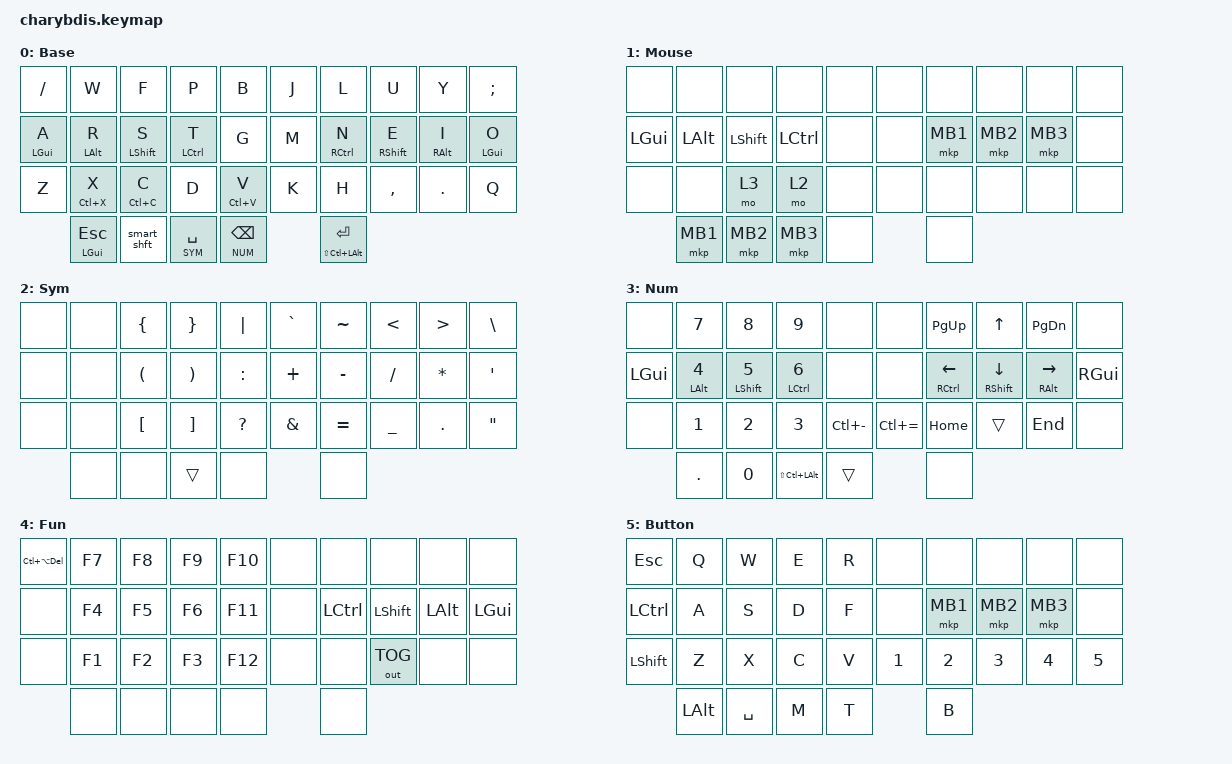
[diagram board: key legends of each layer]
#include <behaviors.dtsi>
#include <dt-bindings/zmk/keys.h>
#include <dt-bindings/zmk/bt.h>
#include <dt-bindings/zmk/ext_power.h>
#include <dt-bindings/zmk/mouse.h>
#include <dt-bindings/zmk/outputs.h>

#include <dt-bindings/zmk/input_transform.h>

#define DEF 0
#define MOUSE 1
#define SYM 2
#define NUM 3
#define FN 4
#define GENSHIN 5 

#define KEYS_L 0 1 2 3 4 10 11 12 13 14 20 21 22 23 24  
#define KEYS_R 5 6 7 8 9 15 16 17 18 19 25 26 27 28 29
#define THUMBS 30 31 32 33 34 35  

&sk {
  release-after-ms = <600>;
  quick-release;
};

&sl {
  ignore-modifiers;
};

&mt {
  flavor = "tap-preferred";
};

&lt {
  flavor = "balanced";
  tapping-term-ms = <200>;
  quick-tap-ms = <175>;
};

&caps_word {
  /delete-property/ ignore-modifiers;
};



/ {
  trackball_listener {
    compatible = "zmk,input-listener";
    device = <&vtrackball>;

    snipe {
      layers = <NUM>;
      input-processors = <&xy_scaler 1 3>;
    };

    scroll {
      layers = <SYM>;
      input-processors = <&xy_invert (INPUT_TRANSFORM_Y_INVERT)>, <&xy_scaler 1 3>, <&x_scaler 0 1>, <&mouse_to_wheel_mapper>;
    };
  };

  /* input config for mouse move mode on default layer (DEF & MOUSE) */
  tb0_mmv_ibl {
    /* new forked compatible name */
    compatible = "zmk,input-behavior-listener";
    
    /* the input point device alias */
    device = <&vtrackball>;

    /* only enable in default layer (DEF) & mouse key layer (MOUSE) */
    layers = <DEF MOUSE>;

    /* event code value to override raw input event */
    /* designed for switching to mouse scroll, xy-swap, precise-mode+, etc */
    /* NOTE: only apply input-code overriding for INPUT_EV_REL */
    evt-type = <INPUT_EV_REL>;
    x-input-code = <INPUT_REL_X>;
    y-input-code = <INPUT_REL_Y>;
    scale-multiplier = <999>;
    scale-divisor = <1000>;

    /* bind a behavior to auto activate MOUSE layer for &mkp */
    bindings = <&ib_tog_layer MOUSE>;
  };


  /* adjust cooldown waiting period for mouse key layer (MSK) after activated */
  ib_tog_layer: ib_tog_layer {
          compatible = "zmk,input-behavior-tog-layer";
          #binding-cells = <1>;
          time-to-live-ms = <1000>;
          require-prior-idle-ms = <500>;
  };

  xy_scaler: xy_scaler {
    compatible = "zmk,input-processor-scaler";
    #input-processor-cells = <2>;
    type = <INPUT_EV_REL>;
    codes = <INPUT_REL_X>, <INPUT_REL_Y>;
  };

  x_scaler: x_scaler {
    compatible = "zmk,input-processor-scaler";
    #input-processor-cells = <2>;
    type = <INPUT_EV_REL>;
    codes = <INPUT_REL_X>;
  };

  y_scaler: y_scaler {
    compatible = "zmk,input-processor-scaler";
    #input-processor-cells = <2>;
    type = <INPUT_EV_REL>;
    codes = <INPUT_REL_Y>;
  };

  xy_invert: xy_invert {
    compatible = "zmk,input-processor-transform";
    #input-processor-cells = <1>;
    type = <INPUT_EV_REL>;
    x-codes = <INPUT_REL_X>, <INPUT_REL_WHEEL>;
    y-codes = <INPUT_REL_Y>, <INPUT_REL_HWHEEL>;
  };

  mouse_to_wheel_mapper: mouse_to_wheel_mapper {
    compatible = "zmk,input-processor-code-mapper";
    #input-processor-cells = <0>;
    type = <INPUT_EV_REL>;
    map = <INPUT_REL_X INPUT_REL_MISC>, <INPUT_REL_Y INPUT_REL_WHEEL>;
  };

  behaviors {
    hml: hml {
      compatible = "zmk,behavior-hold-tap";
      #binding-cells = <2>;
      flavor = "balanced";
      tapping-term-ms = <5000>;
      quick-tap-ms = <175>;
      require-prior-idle-ms = <250>;
      hold-trigger-key-positions = <KEYS_R THUMBS>;
      hold-trigger-on-release;
      bindings =
        <&kp>,
        <&kp>;
    };

    hmr: hmr {
      compatible = "zmk,behavior-hold-tap";
      #binding-cells = <2>;
      flavor = "balanced";
      tapping-term-ms = <5000>;
      quick-tap-ms = <175>;
      require-prior-idle-ms = <250>;
      hold-trigger-key-positions = <KEYS_L THUMBS>;
      hold-trigger-on-release;
      bindings =
        <&kp>,
        <&kp>;
    };

    smart_shft: smart_shft {
      compatible = "zmk,behavior-mod-morph";
      #binding-cells = <0>;
      bindings = <&sk LSHIFT>, <&caps_word>;
      mods = <(MOD_LSFT)>;
    };
  };

  combos {
    compatible = "zmk,combos";
    combo_normal {
      timeout-ms = <20>;
      key-positions = <7 8>;
      bindings = <&to DEF>;
    };

    combo_fn {
      timeout-ms = <20>;
      key-positions = <27 28>;
      bindings = <&sl FN>;
    };
    combo_genshin {
      timeout-ms = <20>;
      key-positions = <5 9>;
      bindings = <&to GENSHIN>;
    };
    combo_esc {
      timeout-ms = <20>;
      key-positions = <1 2>;
      bindings = <&kp ESCAPE>;
    };
    combo_tab {
      timeout-ms = <20>;
      key-positions = <2 3>;
      bindings = <&kp TAB>;
    };
    combo_cdel {
      timeout-ms = <20>;
      key-positions = <11 12>;
      bindings = <&kp LC(BACKSPACE)>;
    };
    combo_unlock {
      timeout-ms = <20>;
      key-positions = <0 4>;
      bindings = <&studio_unlock>;
    };
    combo_reset_left {
      timeout-ms = <20>;
      key-positions = <20 24>;
      bindings = <&sys_reset>;
    };
    combo_reset_right {
      timeout-ms = <20>;
      key-positions = <25 29>;
      bindings = <&sys_reset>;
    };
  };
  chosen {
    zmk,physical-layout = &charybdis_5col_layout;
  };

  keymap {
    compatible = "zmk,keymap";

    Base {
      bindings = <
        &kp FSLH       &kp W          &kp F           &kp P           &kp B             &kp J    &kp L           &kp U           &kp Y          &kp SEMI
        &hml LGUI A    &hml LALT R    &hml LSHFT S    &hml LCTRL T    &kp G             &kp M    &hmr RCTRL N    &hmr RSHFT E    &hmr RALT I    &hmr LGUI O
        &kp Z          &mt LC(X) X    &mt LC(C) C     &kp D           &mt LC(V) V       &kp K    &kp H           &kp COMMA       &kp DOT        &kp Q
                       &mt LGUI ESCAPE      &smart_shft     &lt SYM SPACE     &lt NUM BACKSPACE        &mt LS(LC(LEFT_ALT)) ENTER
      >;
    };

    Mouse {
      bindings = <
        &none      &none      &none       &none       &none       &none    &none       &none       &none       &none
        &kp LGUI   &kp LALT   &kp LSHFT   &kp LCTRL   &none       &none    &mkp MB1    &mkp MB2    &mkp MB3    &none 
        &none      &none      &mo 3       &mo 2       &none       &none    &none       &none       &none       &none 
        &mkp MB1    &mkp MB2    &mkp MB3    &none       &none
      >;
    };

    Sym {
      bindings = <
        &none    &none    &kp LEFT_BRACE          &kp RIGHT_BRACE          &kp PIPE         &kp GRAVE    &kp TILDE    &kp LESS_THAN    &kp GREATER_THAN    &kp BACKSLASH        
        &none    &none    &kp LEFT_PARENTHESIS    &kp RIGHT_PARENTHESIS    &kp COLON        &kp PLUS     &kp MINUS    &kp SLASH        &kp ASTRK           &kp SINGLE_QUOTE    
        &none    &none    &kp LEFT_BRACKET        &kp RIGHT_BRACKET        &kp QUESTION     &kp AMPS     &kp EQUAL    &kp UNDER        &kp PERIOD          &kp DOUBLE_QUOTES  
        &none                   &none                    &trans           &none        &none                                                                     
      >;
    };

    Num {
      bindings = <
        &none      &kp N7          &kp N8           &kp N9           &none            &none              &kp PG_UP          &kp UP             &kp PG_DN          &none          
        &kp LGUI   &hml LALT N4    &hml LSHFT N5    &hml LCTRL N6    &none            &none              &hmr RCTRL LEFT    &hmr RSHFT DOWN    &hmr RALT RIGHT    &kp RGUI     
        &none      &kp N1          &kp N2           &kp N3           &kp LC(MINUS)    &kp LC(EQUAL)      &kp HOME           &trans             &kp END            &none          
        &kp DOT         &kp N0           &kp LS(LC(LEFT_ALT))    &trans              &none
      >;
    };

    Fun {
      bindings = <
        &kp LC(LA(DEL))    &kp F7    &kp F8    &kp F9         &kp F10        &none         &none           &none           &none           &none             
        &none              &kp F4    &kp F5    &kp F6         &kp F11        &none         &kp LCTRL     &kp LSHFT       &kp LALT        &kp LGUI         
        &none              &kp F1    &kp F2    &kp F3         &kp F12        &none         &none           &out OUT_TOG    &none           &none  
        &none     &none &none &none &none
      >;
    };

    Button {
      bindings = <
        &kp ESCAPE    &kp Q     &kp W     &kp E     &kp R       &none      &none      &none      &none         &none     
        &kp LCTRL     &kp A     &kp S     &kp D     &kp F       &none      &mkp MB1   &mkp MB2   &mkp MB3      &none    
        &kp LSHIFT    &kp Z     &kp X     &kp C     &kp V       &kp N1     &kp N2     &kp N3     &kp N4        &kp N5
        &kp LALT  &kp SPACE &kp M       &kp T    &kp B                      
      >;
    };
  };
};
